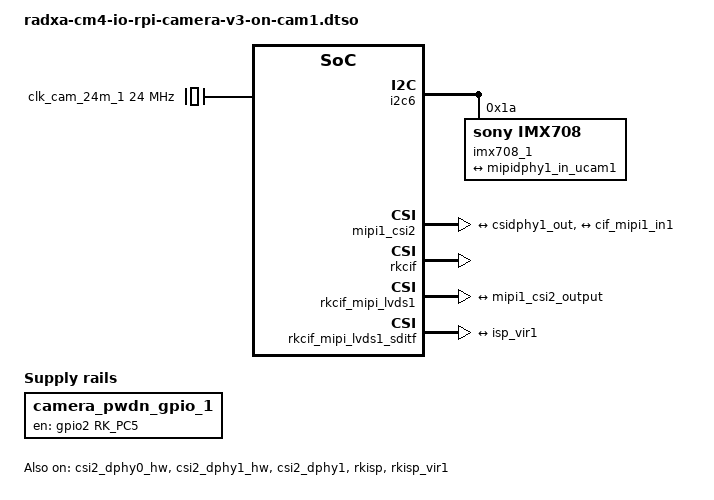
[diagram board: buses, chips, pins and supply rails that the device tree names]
/dts-v1/;
/plugin/;

#include <dt-bindings/gpio/gpio.h>
#include <dt-bindings/pinctrl/rockchip.h>

/ {
	metadata {
		title ="Enable Raspberry Pi Camera V3 on CAM1";
		compatible = "radxa,cm4-io";
		category = "camera";
		exclusive = "GPIO2_C5", "csi2_dphy1", "i2c6";
		description = "Enable Raspberry Pi Camera V3 on CAM1.";
	};
};

&{/} {
	camera_pwdn_gpio_1: camera-pwdn-gpio-1 {
		compatible = "regulator-fixed";
		regulator-name = "camera_pwdn_gpio_1";
		regulator-always-on;
		regulator-boot-on;
		enable-active-high;
		gpio = <&gpio2 RK_PC5 GPIO_ACTIVE_HIGH>;
		pinctrl-names = "default";
		pinctrl-0 = <&cam_pwdn_gpio_1>;
	};

	clk_cam_24m_1: external-camera-clock-24m-1 {
		compatible = "fixed-clock";
		clock-frequency = <24000000>;
		clock-output-names = "clk_cam_24m_1";
		#clock-cells = <0>;
	};
};

&i2c6 {
	status = "okay";
	pinctrl-names = "default";
	pinctrl-0 = <&i2c6m3_xfer>;

	imx708_1: imx708-1@1a {
		status = "okay";
		compatible = "sony,imx708";
		reg = <0x1a>;
		clocks = <&clk_cam_24m_1>;
		clock-names = "inclk";
		rockchip,camera-module-index = <0>;
		rockchip,camera-module-facing = "back";
		rockchip,camera-module-name = "rpi-camera-v3";
		rockchip,camera-module-lens-name = "default";

		port {
			imx708_out1: endpoint {
				remote-endpoint = <&mipidphy1_in_ucam1>;
				data-lanes = <1 2>;
				link-frequencies = /bits/ 64 <450000000>;
			};
		};
	};
};

&csi2_dphy0_hw {
	status = "okay";
};

&csi2_dphy1_hw {
	status = "okay";
};

&csi2_dphy1 {
	status = "okay";

	ports {
		#address-cells = <1>;
		#size-cells = <0>;

		port@0 {
			reg = <0>;
			#address-cells = <1>;
			#size-cells = <0>;

			mipidphy1_in_ucam1: endpoint@2 {
				reg = <2>;
				remote-endpoint = <&imx708_out1>;
				data-lanes = <1 2>;
			};
		};

		port@1 {
			reg = <1>;
			#address-cells = <1>;
			#size-cells = <0>;

			csidphy1_out: endpoint@0 {
				reg = <0>;
				remote-endpoint = <&mipi1_csi2_input>;
			};
		};
	};
};

&mipi1_csi2 {
	status = "okay";

	ports {
		#address-cells = <1>;
		#size-cells = <0>;

		port@0 {
			reg = <0>;
			#address-cells = <1>;
			#size-cells = <0>;

			mipi1_csi2_input: endpoint@1 {
				reg = <1>;
				remote-endpoint = <&csidphy1_out>;
			};
		};

		port@1 {
			reg = <1>;
			#address-cells = <1>;
			#size-cells = <0>;

			mipi1_csi2_output: endpoint@0 {
				reg = <0>;
				remote-endpoint = <&cif_mipi1_in1>;
			};
		};
	};
};

&rkcif {
	status = "okay";
};

&rkcif_mmu {
	status = "okay";
};

&rkcif_mipi_lvds1 {
	status = "okay";

	port {
		cif_mipi1_in1: endpoint {
		    remote-endpoint = <&mipi1_csi2_output>;
		};
	};
};

&rkcif_mipi_lvds1_sditf {
	status = "okay";

	port {
		mipi_lvds1_sditf: endpoint {
			remote-endpoint = <&isp_vir1>;
		};
	};
};

&rkisp_mmu {
	status = "okay";
};

&rkisp {
	status = "okay";
};

&rkisp_vir1 {
	status = "okay";

	port {
		#address-cells = <1>;
		#size-cells = <0>;

		isp_vir1: endpoint@0 {
			reg = <0>;
			remote-endpoint = <&mipi_lvds1_sditf>;
		};
	};
};

&pinctrl {
	camera {
		cam_pwdn_gpio_1: cam-pwdn-gpio-1 {
			rockchip,pins = <2 RK_PC5 RK_FUNC_GPIO &pcfg_pull_up>;
		};
	};
};
